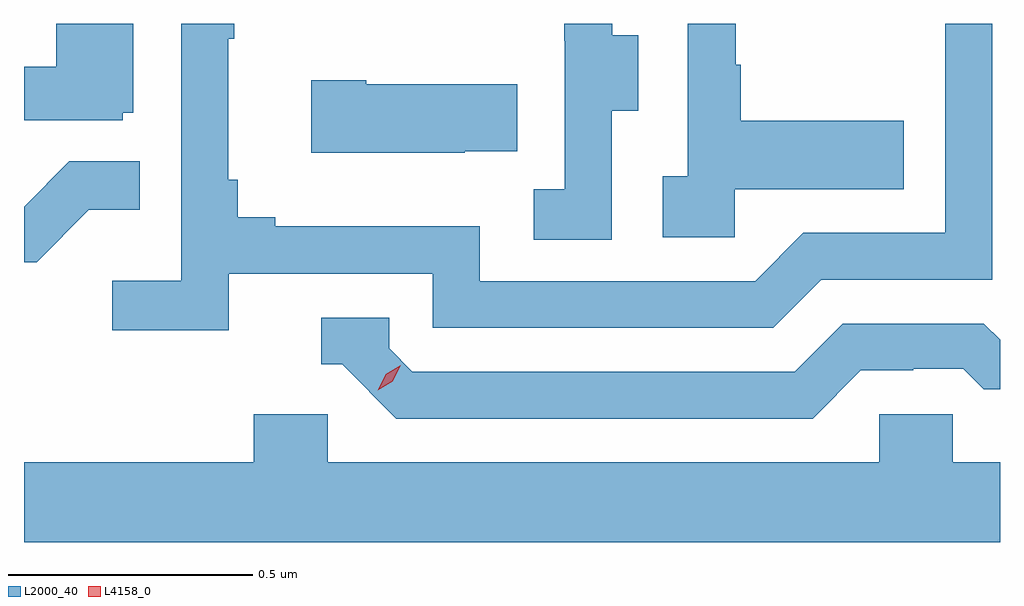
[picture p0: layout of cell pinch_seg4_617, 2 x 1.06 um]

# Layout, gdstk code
import gdstk
lib = gdstk.Library(unit=1e-6, precision=1e-09)
def P(c, l, *ps):  # polygons
    for p in ps: c.add(gdstk.Polygon(p, *l))
L2000_40 = (2000, 40)
L4158_0 = (4158, 0)

pinch_seg4_617 = lib.new_cell('pinch_seg4_617')
P(pinch_seg4_617, L2000_40, [(1070.796,784.38),(1070.818,784.38),(1070.818,784.562),(1070.66,784.562),(1070.66,784.474),(1070.594,784.474),(1070.594,784.365),(1070.796,784.365)],
  [(1071.014,784.05),(1071.432,784.05),(1071.432,783.939),(1072.129,783.939),(1072.228,784.038),(1072.578,784.038),(1072.578,784.562),(1072.482,784.562),(1072.482,784.134),(1072.191,784.134),(1072.092,784.035),(1071.528,784.035),(1071.528,784.147),(1071.109,784.147),(1071.109,784.166),(1071.032,784.166),(1071.032,784.243),(1071.013,784.243),(1071.013,784.531),(1071.025,784.531),(1071.025,784.562),(1070.916,784.562),(1070.916,784.036),(1070.775,784.036),(1070.775,783.934),(1071.014,783.934)],
  [(1071.798,784.384),(1071.853,784.384),(1071.853,784.539),(1071.799,784.539),(1071.799,784.562),(1071.701,784.562),(1071.701,784.527),(1071.702,784.527),(1071.702,784.223),(1071.639,784.223),(1071.639,784.12),(1071.798,784.12)],
  [(1072.05,784.223),(1072.397,784.223),(1072.397,784.363),(1072.063,784.363),(1072.063,784.478),(1072.053,784.478),(1072.053,784.562),(1071.954,784.562),(1071.954,784.25),(1071.903,784.25),(1071.903,784.125),(1072.05,784.125)],
  [(1071.497,784.301),(1071.605,784.301),(1071.605,784.438),(1071.295,784.438),(1071.295,784.446),(1071.183,784.446),(1071.183,784.298),(1071.497,784.298)],
  [(1070.727,784.181),(1070.831,784.181),(1070.831,784.28),(1070.687,784.28),(1070.594,784.187),(1070.594,784.074),(1070.62,784.074)],
  [(1072.309,783.852),(1072.416,783.852),(1072.416,783.855),(1072.519,783.855),(1072.561,783.813),(1072.594,783.813),(1072.594,783.915),(1072.561,783.948),(1072.272,783.948),(1072.173,783.849),(1071.39,783.849),(1071.342,783.897),(1071.342,783.96),(1071.203,783.96),(1071.203,783.864),(1071.246,783.864),(1071.357,783.753),(1072.21,783.753)],
  [(1072.594,783.664),(1072.497,783.664),(1072.497,783.762),(1072.347,783.762),(1072.347,783.664),(1071.216,783.664),(1071.216,783.762),(1071.065,783.762),(1071.065,783.664),(1070.594,783.664),(1070.594,783.5),(1072.594,783.5)])
P(pinch_seg4_617, L4158_0, [(1071.319,783.811),(1071.319,783.811),(1071.335,783.844),(1071.366,783.862),(1071.366,783.862),(1071.366,783.862),(1071.35,783.83),(1071.319,783.811)])

lib.write_gds('pinch_seg4_617.gds')
